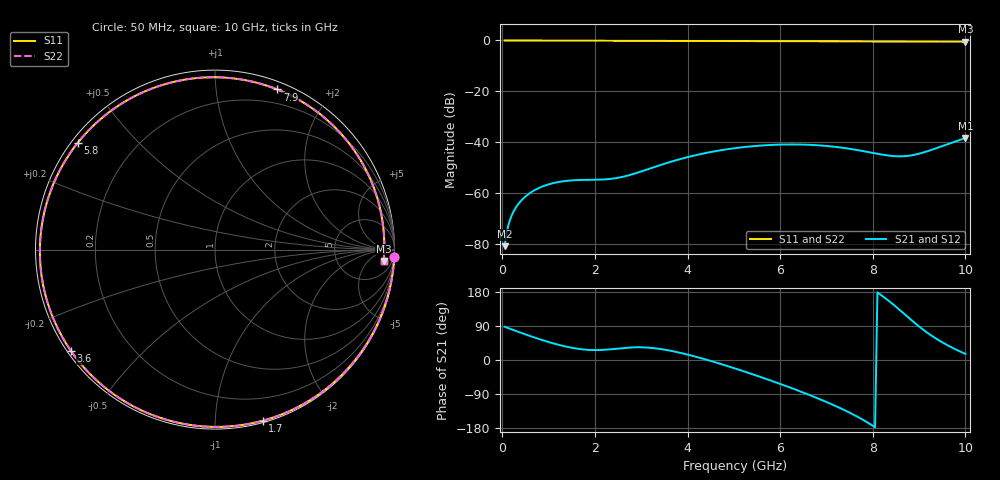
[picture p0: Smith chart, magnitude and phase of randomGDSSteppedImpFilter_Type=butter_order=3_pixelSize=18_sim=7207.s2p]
! freq	dB(S11)	phase(S11)	dB(S12)	phase(S12)
!  dB(S21)	phase(S21)	dB(S22)	phase(S22)
!S-par simulation data
#  GHz  S  DB  R 50
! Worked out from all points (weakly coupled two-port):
!   200 points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, 50 MHz to 10 GHz, reference 50 ohm
!   highest |S21| = -38.44 dB at 10 GHz (marker M1); lowest = -81.0 dB at 50 MHz (marker M2)
!   lowest |S11| = -0.5 dB at 10 GHz (marker M3), VSWR 33.09, Z = 736 - j821 ohm
!   |S11| at or under -10 dB: nowhere
!   |S22| runs from -0.5 to 0.0 dB; largest |S21 - S12| = 0
!   S11 on the Smith chart (normalised r, x): 50 MHz: 0, -50; 1.7 GHz: 0.01, -1.32; 3.6 GHz: 0.01, -0.32; 5.8 GHz: 0.02, +0.34; 7.9 GHz: 0.07, +1.46; 10 GHz: 15, -16
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0.05  -0.00 -2.3  -80.99 87.7  -80.99 87.7  -0.00 -2.3
0.1  -0.00 -4.6  -74.99 85.4  -74.99 85.4  -0.00 -4.6
0.2  -0.01 -9.2  -69.02 80.9  -69.02 80.9  -0.01 -9.2
0.35  -0.02 -15.9  -64.31 74.1  -64.31 74.1  -0.02 -16.0
0.5  -0.03 -22.7  -61.43 67.6  -61.43 67.6  -0.03 -22.7
1  -0.06 -44.9  -56.65 47.4  -56.65 47.4  -0.06 -44.9
1.7  -0.09 -74.4  -54.92 28.5  -54.92 28.5  -0.09 -74.4
1.75  -0.09 -76.4  -54.90 27.8  -54.90 27.8  -0.09 -76.4
2.1  -0.11 -90.3  -54.80 26.3  -54.80 26.3  -0.11 -90.4
2.5  -0.12 -105.6  -54.07 30.3  -54.07 30.3  -0.12 -105.6
3.4  -0.16 -137.9  -49.14 29.3  -49.14 29.3  -0.16 -137.9
3.6  -0.16 -144.7  -47.99 25.2  -47.99 25.2  -0.17 -144.8
4.35  -0.20 -169.9  -44.47 2.9  -44.47 2.9  -0.20 -169.9
5.05  -0.23 167.0  -42.34 -23.3  -42.34 -23.3  -0.23 167.0
5.8  -0.27 142.1  -41.14 -54.3  -41.14 -54.3  -0.27 142.0
6.7  -0.32 111.3  -41.15 -95.6  -41.15 -95.6  -0.32 111.3
7.3  -0.35 90.2  -42.13 -127.1  -42.13 -127.1  -0.35 90.2
7.9  -0.38 68.8  -43.93 -165.9  -43.93 -165.9  -0.38 68.7
8.35  -0.40 52.7  -45.34 155.6  -45.34 155.6  -0.40 52.6
8.75  -0.42 38.5  -45.45 114.1  -45.45 114.1  -0.42 38.4
9.2  -0.45 22.8  -43.50 70.1  -43.50 70.1  -0.45 22.7
10  -0.53 -3.9  -38.44 16.2  -38.44 16.2  -0.53 -3.9
